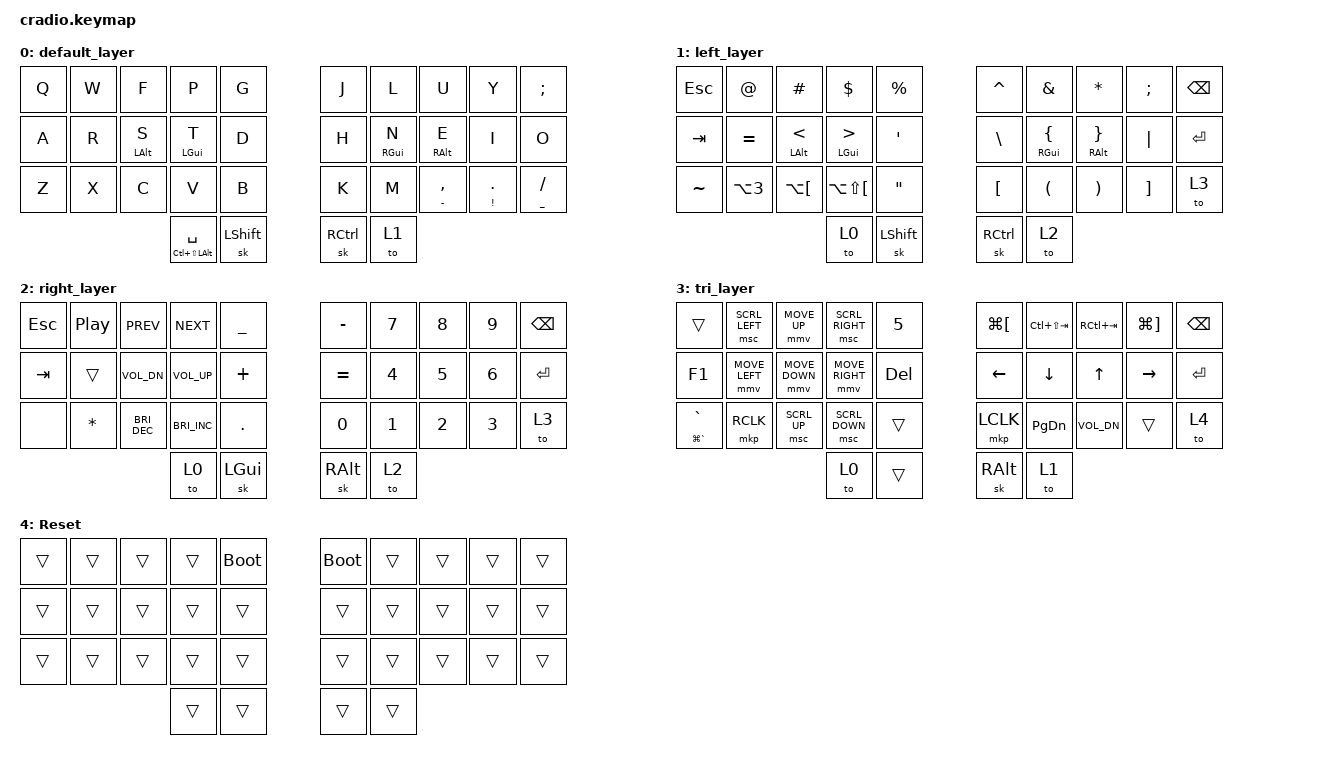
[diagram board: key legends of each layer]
#include <dt-bindings/zmk/mouse.h>
#include <behaviors.dtsi>
#include <dt-bindings/zmk/keys.h>
#include <dt-bindings/zmk/pointing.h>

&mt {
    flavor = "tap-preferred";
    tapping_term_ms = <200>;
};

&mmv {
    time-to-max-speed-ms = <680>;
    acceleration-exponent = <2>;
};

/ {
    behaviors {
        hm: homerow_mods {
            compatible = "zmk,behavior-hold-tap";
            label = "HOMEROW_MODS";
            #binding-cells = <2>;
            tapping-term-ms = <200>;
            quick_tap_ms = <0>;
            flavor = "tap-preferred";
            bindings = <&kp>, <&kp>;
        };

        td: tapdance {
            compatible = "zmk,behavior-hold-tap";
            label = "TAPDANCE";
            #binding-cells = <2>;
            tapping-term-ms = <150>;
            quick_tap_ms = <0>;
            flavor = "tap-preferred";
            bindings = <&kp>, <&kp>;
        };
    };

    keymap {
        compatible = "zmk,keymap";

        default_layer {
            bindings = <
&kp Q  &kp W  &kp F           &kp P                       &kp G             &kp J              &kp L            &kp U            &kp Y         &kp SEMICOLON
&kp A  &kp R  &hm LEFT_ALT S  &hm LEFT_GUI T              &kp D             &kp H              &hm RIGHT_GUI N  &hm RIGHT_ALT E  &kp I         &kp O
&kp Z  &kp X  &kp C           &kp V                       &kp B             &kp K              &kp M            &td MINUS COMMA  &td EXCL DOT  &td UNDERSCORE SLASH
                              &mt LC(LS(LEFT_ALT)) SPACE  &sk LEFT_SHIFT    &sk RIGHT_CONTROL  &to 1
            >;
        };

        left_layer {
            bindings = <
&kp ESC    &kp AT_SIGN  &kp HASH         &kp DLLR          &kp PRCNT     &kp CARET          &kp AMPS            &kp STAR            &kp SEMI  &kp BACKSPACE
&kp TAB    &kp EQUAL    &hm LEFT_ALT LT  &hm LEFT_GUI GT   &kp SQT       &kp BSLH           &hm RIGHT_GUI LBRC  &hm RIGHT_ALT RBRC  &kp PIPE  &kp ENTER
&kp TILDE  &kp LA(N3)   &kp LA(LBKT)     &kp LA(LS(LBKT))  &kp DQT       &kp LBKT           &kp LPAR            &kp RPAR            &kp RBKT  &to 3
                                         &to 0             &sk LSHIFT    &sk RIGHT_CONTROL  &to 2
            >;
        };

        right_layer {
            bindings = <
&kp ESC  &kp C_PP      &kp C_PREV            &kp C_NEXT            &kp UNDER    &kp MINUS  &kp N7  &kp N8  &kp N9  &kp BACKSPACE
&kp TAB  &trans        &kp C_VOL_DN          &kp C_VOL_UP          &kp PLUS     &kp EQUAL  &kp N4  &kp N5  &kp N6  &kp ENTER
&none    &kp ASTERISK  &kp C_BRIGHTNESS_DEC  &kp C_BRIGHTNESS_INC  &kp DOT      &kp N0     &kp N1  &kp N2  &kp N3  &to 3
                                             &to 0                 &sk LGUI     &sk RALT   &to 2
            >;
        };

        tri_layer {
            bindings = <
&trans               &msc SCRL_LEFT  &mmv MOVE_UP    &msc SCRL_RIGHT  &kp NUM_5    &kp LG(LBKT)  &kp LC(LS(TAB))  &kp RC(TAB)   &kp LG(RBKT)  &kp BACKSPACE
&kp F1               &mmv MOVE_LEFT  &mmv MOVE_DOWN  &mmv MOVE_RIGHT  &kp DEL      &kp LEFT      &kp DOWN         &kp UP        &kp RIGHT     &kp ENTER
&td LG(GRAVE) GRAVE  &mkp RCLK       &msc SCRL_UP    &msc SCRL_DOWN   &trans       &mkp LCLK     &kp PG_DN        &kp K_VOL_DN  &trans        &to 4
                                                     &to 0            &trans       &sk RALT      &to 1
            >;
        };

        Reset {
            bindings = <
&trans  &trans  &trans  &trans  &bootloader    &bootloader  &trans  &trans  &trans  &trans
&trans  &trans  &trans  &trans  &trans         &trans       &trans  &trans  &trans  &trans
&trans  &trans  &trans  &trans  &trans         &trans       &trans  &trans  &trans  &trans
                        &trans  &trans         &trans       &trans
            >;
        };
    };
};
